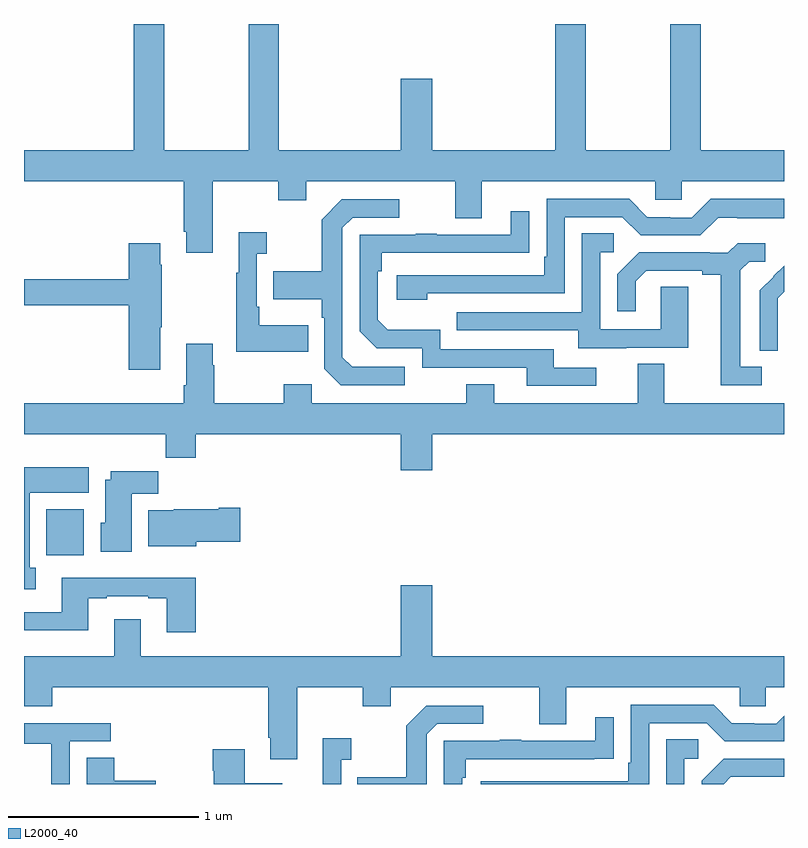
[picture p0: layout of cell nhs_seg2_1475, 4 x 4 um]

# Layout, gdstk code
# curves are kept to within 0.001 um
import gdstk
lib = gdstk.Library(unit=1e-6, precision=1e-09)
def R(c, l, rs):  # rectangles x0, y0, x1, y1
    for r in rs: c.add(gdstk.rectangle(r[:2], r[2:], *l))
def P(c, l, *ps):  # polygons
    for p in ps: c.add(gdstk.Polygon(p, *l))
L2000_40 = (2000, 40)

nhs_seg2_1475 = lib.new_cell('nhs_seg2_1475')
R(nhs_seg2_1475, L2000_40, [(187.118,643.004,187.315,643.246)])
P(nhs_seg2_1475, L2000_40, [(187.993,644.972),(188.338,644.972),(188.338,644.873),(188.485,644.873),(188.485,644.972),(189.269,644.972),(189.269,644.778),(189.409,644.778),(189.409,644.972),(190.323,644.972),(190.323,644.874),(190.461,644.874),(190.461,644.972),(191,644.972),(191,645.136),(190.562,645.136),(190.562,645.8),(190.402,645.8),(190.402,645.136),(189.957,645.136),(189.957,645.8),(189.797,645.8),(189.797,645.136),(189.148,645.136),(189.148,645.511),(188.984,645.511),(188.984,645.136),(188.342,645.136),(188.342,645.8),(188.182,645.8),(188.182,645.136),(187.737,645.136),(187.737,645.8),(187.577,645.8),(187.577,645.136),(187,645.136),(187,644.972),(187.841,644.972),(187.841,644.707),(187.853,644.707),(187.853,644.595),(187.993,644.595)],
  [(189.122,644.382),(189.846,644.382),(189.846,644.784),(190.149,644.784),(190.245,644.688),(190.56,644.688),(190.653,644.781),(190.753,644.781),(190.753,644.777),(191,644.777),(191,644.881),(190.615,644.881),(190.515,644.781),(190.4,644.781),(190.4,644.784),(190.281,644.784),(190.185,644.88),(189.75,644.88),(189.75,644.575),(189.737,644.575),(189.737,644.478),(188.961,644.478),(188.961,644.348),(189.122,644.348)],
  [(189.004,643.995),(188.727,643.995),(188.676,644.046),(188.676,644.727),(188.73,644.781),(188.974,644.781),(188.974,644.877),(188.673,644.877),(188.568,644.771),(188.568,644.499),(188.311,644.499),(188.311,644.351),(188.568,644.351),(188.568,644.255),(188.58,644.255),(188.58,643.986),(188.667,643.899),(189.004,643.899)],
  [(190.012,643.992),(189.787,643.992),(189.787,644.088),(189.192,644.088),(189.192,644.191),(188.915,644.191),(188.862,644.244),(188.862,644.498),(188.882,644.498),(188.882,644.595),(189.659,644.596),(189.659,644.815),(189.563,644.815),(189.563,644.691),(189.173,644.691),(189.173,644.696),(189.061,644.696),(189.061,644.691),(188.766,644.691),(188.766,644.184),(188.856,644.094),(189.096,644.094),(189.096,643.992),(189.647,643.992),(189.647,643.896),(190.012,643.896)],
  [(188.495,644.215),(188.239,644.215),(188.239,644.311),(188.226,644.311),(188.226,644.591),(188.278,644.591),(188.278,644.704),(188.129,644.704),(188.129,644.491),(188.118,644.491),(188.118,644.075),(188.495,644.075)],
  [(190.171,644.097),(190.495,644.097),(190.495,644.417),(190.35,644.417),(190.35,644.193),(190.032,644.193),(190.032,644.598),(190.105,644.598),(190.105,644.699),(189.936,644.699),(189.936,644.283),(189.277,644.283),(189.277,644.187),(189.917,644.187),(189.917,644.093),(190.171,644.093)],
  [(187.717,644.203),(187.725,644.203),(187.725,644.534),(187.717,644.534),(187.717,644.647),(187.55,644.647),(187.55,644.456),(187,644.456),(187,644.32),(187.55,644.32),(187.55,643.98),(187.717,643.98)],
  [(190.882,643.995),(190.771,643.995),(190.771,644.503),(190.818,644.55),(190.9,644.55),(190.9,644.647),(190.756,644.647),(190.704,644.595),(190.61,644.595),(190.61,644.598),(190.238,644.598),(190.122,644.482),(190.122,644.289),(190.219,644.289),(190.219,644.445),(190.276,644.502),(190.571,644.502),(190.571,644.48),(190.667,644.48),(190.667,643.899),(190.882,643.899)],
  [(190.968,644.234),(190.967,644.234),(190.967,644.357),(191,644.39),(191,644.528),(190.944,644.472),(190.945,644.471),(190.872,644.398),(190.872,644.08),(190.968,644.08)],
  [(189.148,643.64),(191,643.64),(191,643.804),(190.369,643.804),(190.369,644.012),(190.229,644.012),(190.229,643.804),(189.475,643.804),(189.475,643.903),(189.328,643.903),(189.328,643.804),(188.514,643.804),(188.514,643.903),(188.368,643.903),(188.368,643.804),(188.001,643.804),(188.001,644.003),(187.993,644.003),(187.993,644.116),(187.853,644.116),(187.853,643.9),(187.841,643.9),(187.841,643.804),(187,643.804),(187,643.64),(187.747,643.64),(187.747,643.516),(187.904,643.516),(187.904,643.64),(188.984,643.64),(188.984,643.452),(189.148,643.452)],
  [(187.063,642.938),(187.03,642.938),(187.03,643.334),(187.342,643.334),(187.342,643.468),(187,643.468),(187,642.825),(187.063,642.825)],
  [(187.567,643.328),(187.706,643.328),(187.706,643.447),(187.457,643.447),(187.457,643.402),(187.427,643.402),(187.427,643.176),(187.403,643.176),(187.403,643.022),(187.567,643.022)],
  [(187.906,643.076),(188.137,643.076),(188.137,643.254),(188.024,643.254),(188.024,643.246),(187.788,643.246),(187.788,643.24),(187.655,643.24),(187.655,643.052),(187.906,643.052)],
  [(187.904,642.886),(187.199,642.886),(187.199,642.705),(187,642.705),(187,642.608),(187.339,642.608),(187.339,642.777),(187.435,642.777),(187.435,642.789),(187.655,642.789),(187.655,642.777),(187.751,642.777),(187.751,642.6),(187.904,642.6)],
  [(188.437,642.308),(188.782,642.308),(188.782,642.209),(188.929,642.209),(188.929,642.308),(189.713,642.308),(189.713,642.114),(189.853,642.114),(189.853,642.308),(190.767,642.308),(190.767,642.21),(190.905,642.21),(190.905,642.308),(191,642.308),(191,642.472),(189.148,642.472),(189.148,642.847),(188.984,642.847),(188.984,642.472),(187.615,642.472),(187.615,642.667),(187.475,642.667),(187.475,642.472),(187,642.472),(187,642.209),(187.148,642.209),(187.148,642.308),(188.285,642.308),(188.285,642.043),(188.297,642.043),(188.297,641.931),(188.437,641.931)],
  [(190.29,642.12),(190.593,642.12),(190.689,642.024),(191,642.024),(191,642.158),(190.959,642.117),(190.844,642.117),(190.844,642.12),(190.725,642.12),(190.629,642.216),(190.194,642.216),(190.194,641.911),(190.181,641.911),(190.181,641.814),(189.405,641.814),(189.405,641.8),(190.29,641.8)],
  [(189.12,642.063),(189.174,642.117),(189.418,642.117),(189.418,642.213),(189.117,642.213),(189.012,642.107),(189.012,641.835),(188.755,641.835),(188.755,641.8),(189.12,641.8)],
  [(189.306,641.834),(189.326,641.834),(189.326,641.931),(190.001,641.931),(190.001,641.932),(190.103,641.932),(190.103,642.151),(190.007,642.151),(190.007,642.027),(189.617,642.027),(189.617,642.032),(189.505,642.032),(189.505,642.027),(189.21,642.027),(189.21,641.8),(189.306,641.8)],
  [(187.242,642.024),(187.456,642.024),(187.456,642.12),(187,642.12),(187,642.012),(187.144,642.012),(187.144,641.8),(187.242,641.8)],
  [(188.67,641.927),(188.722,641.927),(188.722,642.04),(188.573,642.04),(188.573,641.8),(188.67,641.8)],
  [(190.476,641.934),(190.549,641.934),(190.549,642.035),(190.38,642.035),(190.38,641.8),(190.476,641.8)],
  [(188.359,641.803),(188.161,641.803),(188.161,641.983),(187.994,641.983),(187.994,641.87),(187.999,641.87),(187.999,641.8),(188.359,641.8)],
  [(187.693,641.816),(187.475,641.816),(187.475,641.939),(187.331,641.939),(187.331,641.8),(187.693,641.8)],
  [(190.72,641.838),(191,641.838),(191,641.934),(190.682,641.934),(190.566,641.818),(190.566,641.8),(190.682,641.8)])

lib.write_gds('nhs_seg2_1475.gds')
